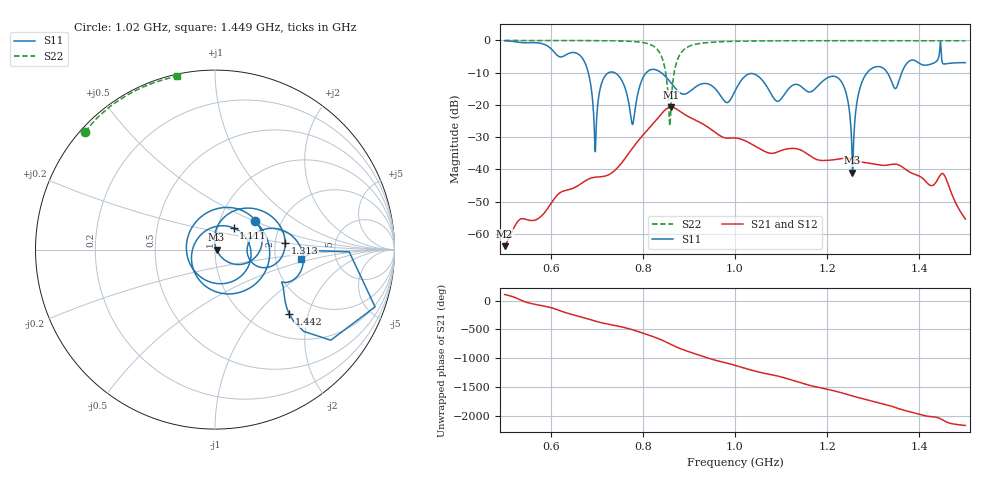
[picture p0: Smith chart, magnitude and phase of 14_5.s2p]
! TOUCHSTONE file generated by CST MICROWAVE STUDIO
! Date and time: Mon Nov 30 08:36:29 2020
! Project name: Scenario_1_Planar_Body_Tissue_Out_of_Line.cst
! Parameters = {dy1=-121.1; L_HA=400; Ltissue=700; MT=2.54; Rad_Dielectric=30; Rad_Lower=7.3; Rad_Upper=30; Wtissue=700; a_HA=580; a_WG=246; b_HA=500; b_WG=121; c_HA=0; c_WG=187; d_feed=85; dx1=866; h_feed=15; h_lower=18; h_upper=40; hfat=3; hgap=25; hmuscle=50; hskin=1.5}
! Header version: 2018
! Port assignment regex: !\s*Touchstone port\s*([0-9]+)\s*=\s*(CST MWS port|CST DS port)\s*([0-9]+|Zmin|Zmax)\s*\(\"(.*)\"\)(\s*mode\s*([0-9]+))?.*
! Touchstone port assignment:
! Touchstone port 1 = CST MWS port 1 ("")
! Touchstone port 2 = CST MWS port 2 ("")
# GHz S DB R 50
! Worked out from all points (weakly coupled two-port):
!   1003 points, 500 MHz to 1.5 GHz, reference 50 ohm
!   highest |S21| = -20.68 dB at 861 MHz (marker M1); lowest = -63.9 dB at 500 MHz (marker M2)
!   lowest |S11| = -41.0 dB at 1.255 GHz (marker M3), VSWR 1.02, Z = 50.9 - j0.033 ohm
!   |S11| at or under -10 dB: 681.6 MHz to 725.8 MHz (44.17 MHz wide, 6.28 % of centre); 738.6 MHz to 807.6 MHz (69 MHz wide, 8.92 % of centre); 839.8 MHz to 1.287 GHz (447.1 MHz wide, 42 % of centre)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
!   |S22| runs from -26.5 to 0.0 dB; largest |S21 - S12| = 1.3e-05
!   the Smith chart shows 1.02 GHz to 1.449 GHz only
!   S11 on the Smith chart (normalised r, x): 1.02 GHz: 1.47, +0.50; 1.111 GHz: 1.19, +0.29; 1.313 GHz: 2.27, +0.19; 1.442 GHz: 1.48, -1.52; 1.449 GHz: 2.80, -0.38
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0.5  -0.10 -122.1  -63.85 104.2  -63.85 104.2  -0.01 151.2
0.583  -1.07 -167.8  -54.05 -91.1  -54.05 -91.1  -0.02 145.4
0.667  -5.16 123.1  -44.35 73.9  -44.35 73.9  -0.04 138.4
0.697  -34.55 -67.6  -42.44 2.3  -42.44 2.3  -0.06 135.2
0.723  -10.25 169.2  -41.86 -46.7  -41.86 -46.7  -0.10 131.9
0.778  -26.09 -43.1  -33.35 -147.7  -33.35 -147.7  -0.33 121.1
0.834  -9.46 72.6  -23.86 58.6  -23.86 58.6  -3.27 84.5
0.861  -13.13 -15.7  -20.68 -40.9  -20.68 -40.9  -20.30 -114.3
0.889  -16.69 -138.7  -22.82 -136.8  -22.82 -136.9  -2.87 178.2
1  -15.71 107.4  -30.26 -42.9  -30.26 -42.9  -0.27 140.3
1.02  -11.34 35.3  -31.02 -91.3  -31.02 -91.3  -0.22 137.8
1.055  -11.69 -71.6  -33.76 -166.6  -33.76 -166.6  -0.16 134.0
1.111  -15.99 49.5  -33.73 91.0  -33.73 91.0  -0.12 128.8
1.167  -15.78 165.7  -36.19 -40.7  -36.19 -40.7  -0.10 124.3
1.228  -12.25 -4.2  -36.72 -152.9  -36.72 -152.9  -0.09 119.6
1.255  -41.05 -2.1  -36.90 144.6  -36.90 144.6  -0.08 117.5
1.275  -13.12 67.8  -37.74 101.9  -37.74 101.9  -0.08 116.0
1.313  -8.12 5.3  -38.65 23.2  -38.65 23.2  -0.08 113.2
1.334  -10.85 -20.6  -38.62 -19.9  -38.62 -19.9  -0.08 111.6
1.442  -5.22 -41.0  -42.61 123.9  -42.61 123.8  -0.10 103.0
1.449  -6.34 -6.1  -41.32 97.1  -41.33 97.0  -0.11 102.4
1.5  -6.90 -46.6  -55.42 -6.5  -55.42 -6.5  -0.13 98.1
